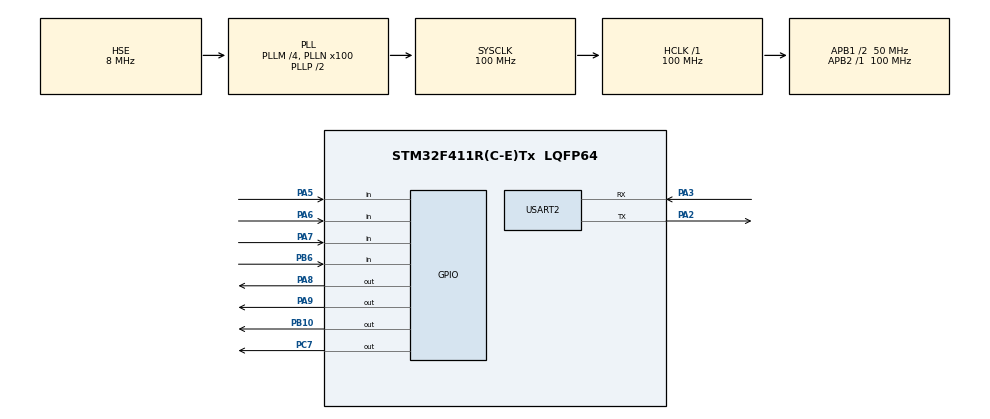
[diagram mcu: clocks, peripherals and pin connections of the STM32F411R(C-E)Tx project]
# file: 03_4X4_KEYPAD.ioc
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Mcu.Family=STM32F4
Mcu.Name=STM32F411R(C-E)Tx
Mcu.Package=LQFP64
NVIC.PriorityGroup=NVIC_PRIORITYGROUP_4
PA13.Mode=Serial_Wire
PA13.Signal=SYS_JTMS-SWDIO
PA14.Mode=Serial_Wire
PA14.Signal=SYS_JTCK-SWCLK
PA2.Mode=Asynchronous
PA2.Signal=USART2_TX
PA3.Mode=Asynchronous
PA3.Signal=USART2_RX
PA5.GPIO_Mode=GPIO_MODE_INPUT
PA5.GPIO_PuPd=GPIO_PULLUP
PA5.Signal=GPIO_Input
PA6.GPIO_Mode=GPIO_MODE_INPUT
PA6.GPIO_PuPd=GPIO_PULLUP
PA6.Signal=GPIO_Input
PA7.GPIO_Mode=GPIO_MODE_INPUT
PA7.GPIO_PuPd=GPIO_PULLUP
PA7.Signal=GPIO_Input
PA8.Signal=GPIO_Output
PA9.Signal=GPIO_Output
PB10.Signal=GPIO_Output
PB6.GPIO_Mode=GPIO_MODE_INPUT
PB6.GPIO_PuPd=GPIO_PULLUP
PB6.Signal=GPIO_Input
PC7.Signal=GPIO_Output
PH0\ -\ OSC_IN.Mode=HSE-External-Oscillator
PH0\ -\ OSC_IN.Signal=RCC_OSC_IN
PH1\ -\ OSC_OUT.Mode=HSE-External-Oscillator
PH1\ -\ OSC_OUT.Signal=RCC_OSC_OUT
ProjectManager.HeapSize=0x200
ProjectManager.StackSize=0x400
ProjectManager.TargetToolchain=STM32CubeIDE
RCC.48MHZClocksFreq_Value=50000000
RCC.AHBFreq_Value=100000000
RCC.APB1CLKDivider=RCC_HCLK_DIV2
RCC.APB1Freq_Value=50000000
RCC.APB1TimFreq_Value=100000000
RCC.APB2Freq_Value=100000000
RCC.APB2TimFreq_Value=100000000
RCC.CortexFreq_Value=100000000
RCC.HCLKFreq_Value=100000000
RCC.HSE_VALUE=8000000
RCC.HSI_VALUE=16000000
RCC.LSE_VALUE=32768
RCC.PLLM=4
RCC.PLLN=100
RCC.PLLSourceVirtual=RCC_PLLSOURCE_HSE
RCC.SYSCLKFreq_VALUE=100000000
RCC.SYSCLKSource=RCC_SYSCLKSOURCE_PLLCLK
RCC.VCOOutputFreq_Value=200000000
USART2.VirtualMode=VM_ASYNC
board=custom

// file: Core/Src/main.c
/* USER CODE BEGIN Header */
/**
  ******************************************************************************
  * @file           : main.c
  * @brief          : Main program body
  ******************************************************************************
  * @attention
  *
  * Copyright (c) 2025 STMicroelectronics.
  * All rights reserved.
  *
  * This software is licensed under terms that can be found in the LICENSE file
  * in the root directory of this software component.
  * If no LICENSE file comes with this software, it is provided AS-IS.
  *
  ******************************************************************************
  */
/* USER CODE END Header */
#include "main.h"
#include "usart.h"
#include "gpio.h"

/* USER CODE BEGIN Includes */
#include "stdio.h"
/* USER CODE END Includes */

/* USER CODE BEGIN PM */
// printf 같은 함수 출력 → UART Redirection
int _write(int file, unsigned char* p, int len) {
    HAL_StatusTypeDef status = HAL_UART_Transmit(&huart2, p, len, 100);
    return (status == HAL_OK ? len : 0);
}
/* USER CODE END PM */

/* USER CODE BEGIN PV */
char keyMap[4][4] = {
		{'7', '8', '9', '/'},
		{'4', '5', '6', '*'},
		{'1', '2', '3', '-'},
		{'=', '0', '.', '+'}
};

// COL 1 ~ 4 Port, Pin
GPIO_TypeDef* colPort[4] = {GPIOB, GPIOA, GPIOA, GPIOA};
uint16_t colPin[4] = {GPIO_PIN_6, GPIO_PIN_7, GPIO_PIN_6, GPIO_PIN_5};
// ROW 1 ~ 4 Port, Pin
GPIO_TypeDef* rowPort[4] = {GPIOC, GPIOA, GPIOA, GPIOB};
uint16_t rowPin[4] = {GPIO_PIN_7, GPIO_PIN_9, GPIO_PIN_8, GPIO_PIN_10};

uint8_t curKey, keyRow = 0, keyCol = 0;
uint8_t lastKey, keyFlag = 0;
/* USER CODE END PV */

void SystemClock_Config(void);
/* USER CODE BEGIN PFP */
uint8_t keypadScan(void) {
	for (int row = 0; row < 4; row++) {
		HAL_GPIO_WritePin(rowPort[0], rowPin[0], GPIO_PIN_SET);
		HAL_GPIO_WritePin(rowPort[1], rowPin[1], GPIO_PIN_SET);
		HAL_GPIO_WritePin(rowPort[2], rowPin[2], GPIO_PIN_SET);
		HAL_GPIO_WritePin(rowPort[3], rowPin[3], GPIO_PIN_SET);

		HAL_GPIO_WritePin(rowPort[row], rowPin[row], GPIO_PIN_RESET);

		HAL_Delay(1);

		for (int col = 0; col < 4; col++) {
			if (HAL_GPIO_ReadPin(colPort[col], colPin[col]) == GPIO_PIN_RESET) {
				return ((row + 1) * 10 + col + 1);
			}
		}
	}
	return 0;
}
/* USER CODE END PFP */

int main(void)
{

  /* MCU Configuration--------------------------------------------------------*/

  /* Reset of all peripherals, Initializes the Flash interface and the Systick. */
  HAL_Init();

  /* Configure the system clock */
  SystemClock_Config();

  /* Initialize all configured peripherals */
  MX_GPIO_Init();
  MX_USART2_UART_Init();

  /* Infinite loop */
  /* USER CODE BEGIN WHILE */
  while (1)
  {
	  curKey = keypadScan();

	  if (curKey != 0 && lastKey == 0) {
		  lastKey = curKey;
		  keyFlag = 1;
		  keyRow = (curKey / 10) - 1;
		  keyCol = (curKey % 10) - 1;
	  }
	  else if (curKey == 0) {
		  lastKey = 0;
	  }

	  if (lastKey != 0 && keyFlag == 1) {
		  printf("Key : %c\r\n", keyMap[keyRow][keyCol]);
		  keyFlag = 0;
	  }
    /* USER CODE END WHILE */

  }
}

void SystemClock_Config(void)
{
  RCC_OscInitTypeDef RCC_OscInitStruct = {0};
  RCC_ClkInitTypeDef RCC_ClkInitStruct = {0};

  /** Configure the main internal regulator output voltage
  */
  __HAL_RCC_PWR_CLK_ENABLE();
  __HAL_PWR_VOLTAGESCALING_CONFIG(PWR_REGULATOR_VOLTAGE_SCALE1);

  /** Initializes the RCC Oscillators according to the specified parameters
  * in the RCC_OscInitTypeDef structure.
  */
  RCC_OscInitStruct.OscillatorType = RCC_OSCILLATORTYPE_HSE;
  RCC_OscInitStruct.HSEState = RCC_HSE_ON;
  RCC_OscInitStruct.PLL.PLLState = RCC_PLL_ON;
  RCC_OscInitStruct.PLL.PLLSource = RCC_PLLSOURCE_HSE;
  RCC_OscInitStruct.PLL.PLLM = 4;
  RCC_OscInitStruct.PLL.PLLN = 100;
  RCC_OscInitStruct.PLL.PLLP = RCC_PLLP_DIV2;
  RCC_OscInitStruct.PLL.PLLQ = 4;
  if (HAL_RCC_OscConfig(&RCC_OscInitStruct) != HAL_OK)
  {
    Error_Handler();
  }

  /** Initializes the CPU, AHB and APB buses clocks
  */
  RCC_ClkInitStruct.ClockType = RCC_CLOCKTYPE_HCLK|RCC_CLOCKTYPE_SYSCLK
                              |RCC_CLOCKTYPE_PCLK1|RCC_CLOCKTYPE_PCLK2;
  RCC_ClkInitStruct.SYSCLKSource = RCC_SYSCLKSOURCE_PLLCLK;
  RCC_ClkInitStruct.AHBCLKDivider = RCC_SYSCLK_DIV1;
  RCC_ClkInitStruct.APB1CLKDivider = RCC_HCLK_DIV2;
  RCC_ClkInitStruct.APB2CLKDivider = RCC_HCLK_DIV1;

  if (HAL_RCC_ClockConfig(&RCC_ClkInitStruct, FLASH_LATENCY_3) != HAL_OK)
  {
    Error_Handler();
  }
}

void Error_Handler(void)
{
  __disable_irq();
  while (1)
  {
  }
}
